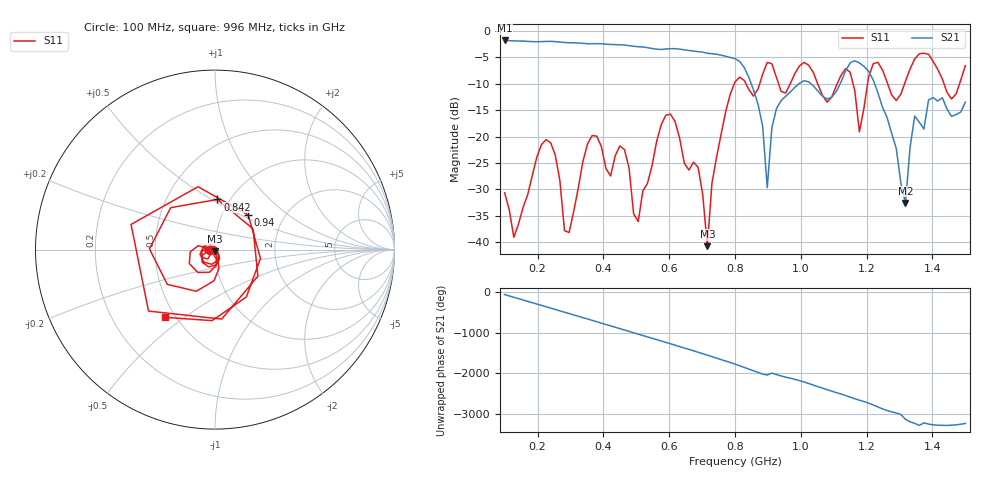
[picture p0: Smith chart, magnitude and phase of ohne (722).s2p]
! NanoVNA-App
! Date: 2025-09-25 14:26:25
! Start: 100MHz Stop: 1,5GHz Points: 101
! S-Parameter data: F S11 S21 S12 S22
# Hz S RI R 50
!  Frequency  S11_Real  S11_Imag  S21_Real  S21_Imag  S12_Real  S12_Imag  S22_Real  S22_Imag
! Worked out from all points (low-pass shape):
!   101 points, 100 MHz to 1.5 GHz, reference 50 ohm
!   highest |S21| = -1.79 dB at 100 MHz (marker M1); lowest = -32.6 dB at 1.318 GHz (marker M2)
!   |S21| within 3 dB of the highest: start of sweep to 771.8 MHz
!   lowest |S11| = -40.8 dB at 716 MHz (marker M3), VSWR 1.02, Z = 49.8 - j0.899 ohm
!   |S11| at or under -10 dB: start of sweep to 797.9 MHz; 833.2 MHz to 875.1 MHz (41.9 MHz wide, 4.91 % of centre); 1.051 GHz to 1.11 GHz (59.29 MHz wide, 5.49 % of centre) (the widest 3 of 7)
!   S12 and S22 are empty: the file has one direction only
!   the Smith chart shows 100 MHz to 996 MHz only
!   S11 on the Smith chart (normalised r, x): 100 MHz: 0.94, -0.01; 842 MHz: 0.88, +0.53; 940 MHz: 1.32, +0.55; 996 MHz: 0.44, -0.43
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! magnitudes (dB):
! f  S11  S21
! 100 MHz  -30.6  -1.8
! 128 MHz  -39.1  -1.9
! 226 MHz  -20.6  -2.0
! 296 MHz  -38.2  -2.2
! 338 MHz  -24.7  -2.3
! 464 MHz  -22.5  -2.7
! 506 MHz  -36.1  -3.0
! 576 MHz  -17.7  -3.5
! 688 MHz  -25.9  -3.9
! 716 MHz  -40.8  -4.2
! 800 MHz  -9.7  -5.2
! 842 MHz  -11.1  -8.8
! 898 MHz  -5.9  -29.7
! 940 MHz  -11.4  -13.2
! 996 MHz  -6.6  -9.9
! 1.038 GHz  -7.9  -10.4
! 1.178 GHz  -19.1  -6.1
! 1.22 GHz  -6.2  -9.3
! 1.276 GHz  -12.1  -19.4
! 1.318 GHz  -9.5  -32.6
! 1.346 GHz  -5.3  -16.1
! 1.5 GHz  -6.6  -13.5
